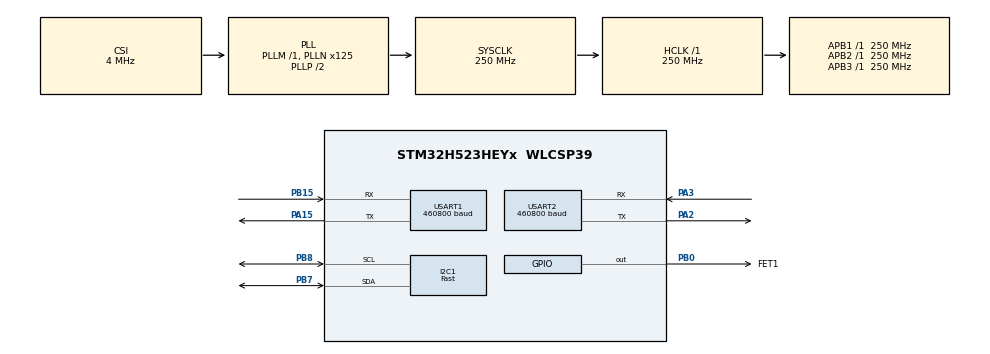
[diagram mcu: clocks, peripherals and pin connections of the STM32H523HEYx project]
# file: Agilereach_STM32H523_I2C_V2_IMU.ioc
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BOOTPATH.BootPathName=LEGACY
BOOTPATH.UserSelectedBootPath=LEGACY
CORTEX_M33_NS.userName=CORTEX_M33
I2C1.I2C_Fall_Time=100
I2C1.I2C_Rise_Time=100
I2C1.I2C_Speed_Mode=I2C_Fast
I2C1.Timing=0x50821643
Mcu.Family=STM32H5
Mcu.Name=STM32H523HEYx
Mcu.Package=WLCSP39
NVIC.ICACHE_IRQn=true\:0\:0\:false\:false\:true\:true\:true\:true
NVIC.PriorityGroup=NVIC_PRIORITYGROUP_4
NVIC.TIM2_IRQn=true\:0\:0\:false\:false\:true\:true\:true\:true
NVIC.TIM3_IRQn=true\:0\:0\:false\:false\:true\:true\:true\:true
NVIC.USART1_IRQn=true\:0\:0\:false\:false\:true\:true\:true\:true
NVIC.USART2_IRQn=true\:0\:0\:false\:false\:true\:true\:true\:true
PA13(JTMS/SWDIO).Signal=DEBUG_JTMS-SWDIO
PA14(JTCK/SWCLK).Signal=DEBUG_JTCK-SWCLK
PA15(JTDI).Mode=Asynchronous
PA15(JTDI).Signal=USART1_TX
PA2.Mode=Asynchronous
PA2.Signal=USART2_TX
PA3.Mode=Asynchronous
PA3.Signal=USART2_RX
PB0.GPIO_Label=FET1
PB0.Signal=GPIO_Output
PB15.Mode=Asynchronous
PB15.Signal=USART1_RX
PB7.GPIO_Pu=GPIO_PULLUP
PB7.GPIO_Speed=GPIO_SPEED_FREQ_HIGH
PB7.Mode=I2C
PB7.Signal=I2C1_SDA
PB8.GPIO_Pu=GPIO_PULLUP
PB8.GPIO_Speed=GPIO_SPEED_FREQ_HIGH
PB8.Mode=I2C
PB8.Signal=I2C1_SCL
ProjectManager.HeapSize=0x200
ProjectManager.StackSize=0x400
ProjectManager.TargetToolchain=STM32CubeIDE
RCC.ADCFreq_Value=250000000
RCC.AHBFreq_Value=250000000
RCC.APB1Freq_Value=250000000
RCC.APB1TimFreq_Value=250000000
RCC.APB2Freq_Value=250000000
RCC.APB2TimFreq_Value=250000000
RCC.APB3Freq_Value=250000000
RCC.CSI_VALUE=4000000
RCC.CortexFreq_Value=250000000
RCC.EPOD_VALUE=4000000
RCC.HCLKFreq_Value=250000000
RCC.HSE_VALUE=25000000
RCC.HSI48_VALUE=48000000
RCC.HSI_VALUE=64000000
RCC.LSE_VALUE=32768
RCC.LSIRC_VALUE=32000
RCC.PLL1Q=4
RCC.PLL2N=125
RCC.PLL3N=125
RCC.PLLFRACN=0
RCC.PLLN=125
RCC.SYSCLKFreq_VALUE=250000000
RCC.SYSCLKSource=RCC_SYSCLKSOURCE_PLLCLK
RCC.USBFreq_Value=48000000
RCC.VCOOutputFreq_Value=500000000
TIM2.PeriodNoDither=221
TIM2.Prescaler=2499
TIM3.PeriodNoDither=221
TIM3.Prescaler=2499
USART1.BaudRate=460800
USART1.VirtualMode-Asynchronous=VM_ASYNC
USART2.BaudRate=460800
USART2.VirtualMode-Asynchronous=VM_ASYNC
VP_BOOTPATH_VS_BOOTPATH.Mode=BP_Activate
VP_CORTEX_M33_NS_VS_Hclk.Mode=Hclk_Mode
VP_ICACHE_VS_ICACHE.Mode=DefaultMode
VP_MEMORYMAP_VS_MEMORYMAP.Mode=CurAppReg
VP_PWR_VS_LPOM.Mode=PowerOptimisation
VP_PWR_VS_SECSignals.Mode=Security/Privilege
VP_TIM2_VS_ClockSourceINT.Mode=Internal
VP_TIM3_VS_ClockSourceINT.Mode=Internal
board=custom

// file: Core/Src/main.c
/* USER CODE BEGIN Header */
/**
  ******************************************************************************
  * @file           : main.c
  * @brief          : Main program body
  ******************************************************************************
  * @attention
  *
  * Copyright (c) 2026 STMicroelectronics.
  * All rights reserved.
  *
  * This software is licensed under terms that can be found in the LICENSE file
  * in the root directory of this software component.
  * If no LICENSE file comes with this software, it is provided AS-IS.
  *
  ******************************************************************************
  */
/* USER CODE END Header */
#include "main.h"
#include "i2c.h"
#include "icache.h"
#include "tim.h"
#include "usart.h"
#include "gpio.h"

/* USER CODE BEGIN Includes */
#include <stdint.h>
#include <stdio.h>
#include <string.h>
#include <stdatomic.h>
#include "flash_eeprom.h"
#include "app/fingertip_runtime.h"
/* USER CODE END Includes */

/* USER CODE BEGIN PD */
uint32_t STMFLASH_LastPage_BUF[MCU_PAGE_SIZE/16];//2048x4/16=1024/2 64bit, it mean that 1024/2 double 64bit calibration parameters in a half page
uint32_t STMFLASH_LastPage_BUF_TEMP[MCU_PAGE_SIZE/16];//backup buffer when erasing page
STM_HOST_DATA Code_data_A;
STM_HOST_DATA Code_data_B;
uint32_t A_BUF[2];
uint32_t B_BUF[2];
uint32_t STMFLASH_BUF[4];
/* USER CODE END PD */

/* USER CODE BEGIN PV */
fingertip_runtime_t g_fingertip_runtime;
volatile HAL_StatusTypeDef g_imu_runtime_init_status = HAL_ERROR;
extern uint8_t calibration_uart_rx_buffer[3+152*ARRAY_PS];//calibration buffer
extern volatile uint8_t Cali_flag;//flag for calibration data
uint32_t temp_buffer[2];//calibration temp buffer
extern uint8_t uart_rx_buffer;
extern uint8_t master_rx_buffer;
extern SensorData system[MAX_BOARDS];
extern volatile uint8_t g_data_read_flag;
extern volatile uint8_t g_coil_read_flag;	//flag for mlx90393 timer3 225hz for coil force freq
extern send_controller_t tx_ctrl;
extern uint8_t system_count;//due to N sensors in serial
/* USER CODE END PV */

void SystemClock_Config(void);
/* USER CODE BEGIN PFP */
void read_mlx90393_burst(void);
void tx_keep_alive(void);
void start_transmission(void);
/* USER CODE END PFP */

/* USER CODE BEGIN 0 */
// CRC Calculation include the start byte!
static uint8_t calc_crc1(const uint8_t* data, uint16_t len) {
	uint8_t crc = 0;
	for (uint16_t i = 0; i < len; i++) {
		crc ^= data[i];
	}
	return crc;
}

/* USER CODE END 0 */

int main(void)
{

  /* MCU Configuration--------------------------------------------------------*/

  /* Reset of all peripherals, Initializes the Flash interface and the Systick. */
  HAL_Init();

  /* Configure the system clock */
  SystemClock_Config();

  /* Initialize all configured peripherals */
  MX_GPIO_Init();
  MX_TIM2_Init();
  MX_TIM3_Init();
  MX_USART1_UART_Init();
  MX_USART2_UART_Init();
  MX_ICACHE_Init();
  MX_I2C1_Init();
  if (fingertip_runtime_init(&g_fingertip_runtime, &hi2c1, &huart2) != HAL_OK)
    {
        // 初始化失败处理，防止系统运行在错误状态
        Error_Handler();
    }

  /* USER CODE BEGIN 2 */
	// Initialize mlx90393
  if (ARRAY_PS ==1)
  {
		// EX
		uint8_t cmd = 0x80;
		HAL_I2C_Master_Transmit(&hi2c1, MLX90393_I2C_ADDRESS_1, &cmd, 1, HAL_MAX_DELAY);
		HAL_I2C_Master_Receive(&hi2c1, MLX90393_I2C_ADDRESS_1, &cmd, 1, HAL_MAX_DELAY);
	//	HAL_I2C_Master_Transmit(&hi2c1, MLX90393_I2C_ADDRESS_2, &cmd, 1, HAL_MAX_DELAY);
	//	HAL_I2C_Master_Transmit(&hi2c1, MLX90393_I2C_ADDRESS_3, &cmd, 1, HAL_MAX_DELAY);
	//	HAL_I2C_Master_Transmit(&hi2c1, MLX90393_I2C_ADDRESS_4, &cmd, 1, HAL_MAX_DELAY);
		HAL_Delay(10);

		// RT
		cmd = 0xF0;
		HAL_I2C_Master_Transmit(&hi2c1, MLX90393_I2C_ADDRESS_1, &cmd, 1, HAL_MAX_DELAY);
		HAL_I2C_Master_Receive(&hi2c1, MLX90393_I2C_ADDRESS_1, &cmd, 1, HAL_MAX_DELAY);
	//	HAL_I2C_Master_Transmit(&hi2c1, MLX90393_I2C_ADDRESS_2, &cmd, 1, HAL_MAX_DELAY);
	//	HAL_I2C_Master_Transmit(&hi2c1, MLX90393_I2C_ADDRESS_3, &cmd, 1, HAL_MAX_DELAY);
	//	HAL_I2C_Master_Transmit(&hi2c1, MLX90393_I2C_ADDRESS_4, &cmd, 1, HAL_MAX_DELAY);
		HAL_Delay(10);

		uint16_t reg00_val = (0 << 8) | 0x1C;
		uint8_t buff0[4] = {0x60, (uint8_t)(reg00_val >> 8), (uint8_t)(reg00_val & 0xFF), 0x00 << 2};
		HAL_I2C_Master_Transmit(&hi2c1, MLX90393_I2C_ADDRESS_1, buff0, 4, HAL_MAX_DELAY);
		HAL_I2C_Master_Receive(&hi2c1, MLX90393_I2C_ADDRESS_1, &cmd, 1, HAL_MAX_DELAY);
	//	HAL_I2C_Master_Transmit(&hi2c1, MLX90393_I2C_ADDRESS_2, buff0, 4, HAL_MAX_DELAY);
	//	HAL_I2C_Master_Transmit(&hi2c1, MLX90393_I2C_ADDRESS_3, buff0, 4, HAL_MAX_DELAY);
	//	HAL_I2C_Master_Transmit(&hi2c1, MLX90393_I2C_ADDRESS_4, buff0, 4, HAL_MAX_DELAY);
		HAL_Delay(10);

		uint16_t reg02_val = (0x02 << 8) | 0xA8;
		uint8_t buff2[4] = {0x60, (uint8_t)(reg02_val >> 8), (uint8_t)(reg02_val & 0xFF), 0x02 << 2};
		HAL_I2C_Master_Transmit(&hi2c1, MLX90393_I2C_ADDRESS_1, buff2, 4, HAL_MAX_DELAY);
		HAL_I2C_Master_Receive(&hi2c1, MLX90393_I2C_ADDRESS_1, &cmd, 1, HAL_MAX_DELAY);
	//	HAL_I2C_Master_Transmit(&hi2c1, MLX90393_I2C_ADDRESS_2, buff2, 4, HAL_MAX_DELAY);
	//	HAL_I2C_Master_Transmit(&hi2c1, MLX90393_I2C_ADDRESS_3, buff2, 4, HAL_MAX_DELAY);
	//	HAL_I2C_Master_Transmit(&hi2c1, MLX90393_I2C_ADDRESS_4, buff2, 4, HAL_MAX_DELAY);
		HAL_Delay(10);

		// start burst
#if MLX90393_TEMP_READING
		uint8_t Burst_CMD = 0x1F;//Enable temperature reading
#else
		uint8_t Burst_CMD = 0x1E;
#endif
		HAL_I2C_Master_Transmit(&hi2c1, MLX90393_I2C_ADDRESS_1, &Burst_CMD, 1, HAL_MAX_DELAY);
		HAL_I2C_Master_Receive(&hi2c1, MLX90393_I2C_ADDRESS_1, &cmd, 1, HAL_MAX_DELAY);
	//	HAL_I2C_Master_Transmit(&hi2c1, MLX90393_I2C_ADDRESS_2, &Burst_CMD, 1, HAL_MAX_DELAY);
	//	HAL_I2C_Master_Transmit(&hi2c1, MLX90393_I2C_ADDRESS_3, &Burst_CMD, 1, HAL_MAX_DELAY);
	//	HAL_I2C_Master_Transmit(&hi2c1, MLX90393_I2C_ADDRESS_4, &Burst_CMD, 1, HAL_MAX_DELAY);

		HAL_Delay(10);
		//flash last page initial start to read flash data to calibration parameters K0...
			  FLASH_ReadData(CAL_START_ADDRESS, temp_buffer, 2);//read K0_0
				memcpy(&K0_0, &temp_buffer, sizeof(double));
			  FLASH_ReadData(CAL_START_ADDRESS+8, temp_buffer, 2);//read K1_0
				memcpy(&K1_0, &temp_buffer, sizeof(double));
			  FLASH_ReadData(CAL_START_ADDRESS+16, temp_buffer, 2);//read K2_0
				memcpy(&K2_0, &temp_buffer, sizeof(double));
			  FLASH_ReadData(CAL_START_ADDRESS+24, temp_buffer, 2);//read K3_0
				memcpy(&K3_0, &temp_buffer, sizeof(double));
			  FLASH_ReadData(CAL_START_ADDRESS+32, temp_buffer, 2);//read K4_0
				memcpy(&K4_0, &temp_buffer, sizeof(double));
			  FLASH_ReadData(CAL_START_ADDRESS+40, temp_buffer, 2);//read K5_0
				memcpy(&K5_0, &temp_buffer, sizeof(double));
			  FLASH_ReadData(CAL_START_ADDRESS+48, temp_buffer, 2);//read K6_0
				memcpy(&K6_0, &temp_buffer, sizeof(double));
			  FLASH_ReadData(CAL_START_ADDRESS+56, temp_buffer, 2);//read K7_0
				memcpy(&K7_0, &temp_buffer, sizeof(double));
			  FLASH_ReadData(CAL_START_ADDRESS+64, temp_buffer, 2);//read K8_0
				memcpy(&K8_0, &temp_buffer, sizeof(double));
			  FLASH_ReadData(CAL_START_ADDRESS+72, temp_buffer, 2);//read K9_0
				memcpy(&K9_0, &temp_buffer, sizeof(double));
			  FLASH_ReadData(CAL_START_ADDRESS+80, temp_buffer, 2);//read a_x_0
				memcpy(&a_x_0, &temp_buffer, sizeof(double));
			  FLASH_ReadData(CAL_START_ADDRESS+88, temp_buffer, 2);//read b_x_0
				memcpy(&b_x_0, &temp_buffer, sizeof(double));
			  FLASH_ReadData(CAL_START_ADDRESS+96, temp_buffer, 2);//read c_x_0
				memcpy(&c_x_0, &temp_buffer, sizeof(double));
			  FLASH_ReadData(CAL_START_ADDRESS+104, temp_buffer, 2);//read a_y_0
				memcpy(&a_y_0, &temp_buffer, sizeof(double));
			  FLASH_ReadData(CAL_START_ADDRESS+112, temp_buffer, 2);//read b_y_0
				memcpy(&b_y_0, &temp_buffer, sizeof(double));
			  FLASH_ReadData(CAL_START_ADDRESS+120, temp_buffer, 2);//read c_y_0
				memcpy(&c_y_0, &temp_buffer, sizeof(double));
			  FLASH_ReadData(CAL_START_ADDRESS+128, temp_buffer, 2);//read a_z_0
				memcpy(&a_z_0, &temp_buffer, sizeof(double));
			  FLASH_ReadData(CAL_START_ADDRESS+136, temp_buffer, 2);//read b_z_0
				memcpy(&b_z_0, &temp_buffer, sizeof(double));
			  FLASH_ReadData(CAL_START_ADDRESS+144, temp_buffer, 2);//read c_z_0
				memcpy(&c_z_0, &temp_buffer, sizeof(double));

  }
  else if (ARRAY_PS ==2)
  {
		// EX
		uint8_t cmd = 0x80;
		HAL_I2C_Master_Transmit(&hi2c1, MLX90393_I2C_ADDRESS_1, &cmd, 1, HAL_MAX_DELAY);
		HAL_I2C_Master_Transmit(&hi2c1, MLX90393_I2C_ADDRESS_2, &cmd, 1, HAL_MAX_DELAY);
	//	HAL_I2C_Master_Transmit(&hi2c1, MLX90393_I2C_ADDRESS_3, &cmd, 1, HAL_MAX_DELAY);
	//	HAL_I2C_Master_Transmit(&hi2c1, MLX90393_I2C_ADDRESS_4, &cmd, 1, HAL_MAX_DELAY);
		HAL_Delay(10);

		// RT
		cmd = 0xF0;
		HAL_I2C_Master_Transmit(&hi2c1, MLX90393_I2C_ADDRESS_1, &cmd, 1, HAL_MAX_DELAY);
		HAL_I2C_Master_Transmit(&hi2c1, MLX90393_I2C_ADDRESS_2, &cmd, 1, HAL_MAX_DELAY);
	//	HAL_I2C_Master_Transmit(&hi2c1, MLX90393_I2C_ADDRESS_3, &cmd, 1, HAL_MAX_DELAY);
	//	HAL_I2C_Master_Transmit(&hi2c1, MLX90393_I2C_ADDRESS_4, &cmd, 1, HAL_MAX_DELAY);
		HAL_Delay(10);

		uint16_t reg00_val = (0 << 8) | 0x1C;
		uint8_t buff0[4] = {0x60, (uint8_t)(reg00_val >> 8), (uint8_t)(reg00_val & 0xFF), 0x00 << 2};
		HAL_I2C_Master_Transmit(&hi2c1, MLX90393_I2C_ADDRESS_1, buff0, 4, HAL_MAX_DELAY);
		HAL_I2C_Master_Transmit(&hi2c1, MLX90393_I2C_ADDRESS_2, buff0, 4, HAL_MAX_DELAY);
	//	HAL_I2C_Master_Transmit(&hi2c1, MLX90393_I2C_ADDRESS_3, buff0, 4, HAL_MAX_DELAY);
	//	HAL_I2C_Master_Transmit(&hi2c1, MLX90393_I2C_ADDRESS_4, buff0, 4, HAL_MAX_DELAY);
		HAL_Delay(10);

		uint16_t reg02_val = (0x02 << 8) | 0xA8;
		uint8_t buff2[4] = {0x60, (uint8_t)(reg02_val >> 8), (uint8_t)(reg02_val & 0xFF), 0x02 << 2};
		HAL_I2C_Master_Transmit(&hi2c1, MLX90393_I2C_ADDRESS_1, buff2, 4, HAL_MAX_DELAY);
		HAL_I2C_Master_Transmit(&hi2c1, MLX90393_I2C_ADDRESS_2, buff2, 4, HAL_MAX_DELAY);
	//	HAL_I2C_Master_Transmit(&hi2c1, MLX90393_I2C_ADDRESS_3, buff2, 4, HAL_MAX_DELAY);
	//	HAL_I2C_Master_Transmit(&hi2c1, MLX90393_I2C_ADDRESS_4, buff2, 4, HAL_MAX_DELAY);
		HAL_Delay(10);

		// start burst
		uint8_t Burst_CMD = 0x1E;
		HAL_I2C_Master_Transmit(&hi2c1, MLX90393_I2C_ADDRESS_1, &Burst_CMD, 1, HAL_MAX_DELAY);
		HAL_I2C_Master_Transmit(&hi2c1, MLX90393_I2C_ADDRESS_2, &Burst_CMD, 1, HAL_MAX_DELAY);
	//	HAL_I2C_Master_Transmit(&hi2c1, MLX90393_I2C_ADDRESS_3, &Burst_CMD, 1, HAL_MAX_DELAY);
	//	HAL_I2C_Master_Transmit(&hi2c1, MLX90393_I2C_ADDRESS_4, &Burst_CMD, 1, HAL_MAX_DELAY);

		HAL_Delay(10);
		//flash last page initial start to read flash data to calibration parameters K0...
			  FLASH_ReadData(CAL_START_ADDRESS, temp_buffer, 2);//read K0_0
				memcpy(&K0_0, &temp_buffer, sizeof(double));
			  FLASH_ReadData(CAL_START_ADDRESS+8, temp_buffer, 2);//read K1_0
				memcpy(&K1_0, &temp_buffer, sizeof(double));
			  FLASH_ReadData(CAL_START_ADDRESS+16, temp_buffer, 2);//read K2_0
				memcpy(&K2_0, &temp_buffer, sizeof(double));
			  FLASH_ReadData(CAL_START_ADDRESS+24, temp_buffer, 2);//read K3_0
				memcpy(&K3_0, &temp_buffer, sizeof(double));
			  FLASH_ReadData(CAL_START_ADDRESS+32, temp_buffer, 2);//read K4_0
				memcpy(&K4_0, &temp_buffer, sizeof(double));
			  FLASH_ReadData(CAL_START_ADDRESS+40, temp_buffer, 2);//read K5_0
				memcpy(&K5_0, &temp_buffer, sizeof(double));
			  FLASH_ReadData(CAL_START_ADDRESS+48, temp_buffer, 2);//read K6_0
				memcpy(&K6_0, &temp_buffer, sizeof(double));
			  FLASH_ReadData(CAL_START_ADDRESS+56, temp_buffer, 2);//read K7_0
				memcpy(&K7_0, &temp_buffer, sizeof(double));
			  FLASH_ReadData(CAL_START_ADDRESS+64, temp_buffer, 2);//read K8_0
				memcpy(&K8_0, &temp_buffer, sizeof(double));
			  FLASH_ReadData(CAL_START_ADDRESS+72, temp_buffer, 2);//read K9_0
				memcpy(&K9_0, &temp_buffer, sizeof(double));
			  FLASH_ReadData(CAL_START_ADDRESS+80, temp_buffer, 2);//read a_x_0
				memcpy(&a_x_0, &temp_buffer, sizeof(double));
			  FLASH_ReadData(CAL_START_ADDRESS+88, temp_buffer, 2);//read b_x_0
				memcpy(&b_x_0, &temp_buffer, sizeof(double));
			  FLASH_ReadData(CAL_START_ADDRESS+96, temp_buffer, 2);//read c_x_0
				memcpy(&c_x_0, &temp_buffer, sizeof(double));
			  FLASH_ReadData(CAL_START_ADDRESS+104, temp_buffer, 2);//read a_y_0
				memcpy(&a_y_0, &temp_buffer, sizeof(double));
			  FLASH_ReadData(CAL_START_ADDRESS+112, temp_buffer, 2);//read b_y_0
				memcpy(&b_y_0, &temp_buffer, sizeof(double));
			  FLASH_ReadData(CAL_START_ADDRESS+120, temp_buffer, 2);//read c_y_0
				memcpy(&c_y_0, &temp_buffer, sizeof(double));
			  FLASH_ReadData(CAL_START_ADDRESS+128, temp_buffer, 2);//read a_z_0
				memcpy(&a_z_0, &temp_buffer, sizeof(double));
			  FLASH_ReadData(CAL_START_ADDRESS+136, temp_buffer, 2);//read b_z_0
				memcpy(&b_z_0, &temp_buffer, sizeof(double));
			  FLASH_ReadData(CAL_START_ADDRESS+144, temp_buffer, 2);//read c_z_0
				memcpy(&c_z_0, &temp_buffer, sizeof(double));

				  FLASH_ReadData(CAL_START_ADDRESS+144+8, temp_buffer, 2);//read K0_1
					memcpy(&K0_1, &temp_buffer, sizeof(double));
				  FLASH_ReadData(CAL_START_ADDRESS+144+16, temp_buffer, 2);//read K1_1
					memcpy(&K1_1, &temp_buffer, sizeof(double));
				  FLASH_ReadData(CAL_START_ADDRESS+144+24, temp_buffer, 2);//read K2_1
					memcpy(&K2_1, &temp_buffer, sizeof(double));
				  FLASH_ReadData(CAL_START_ADDRESS+144+32, temp_buffer, 2);//read K3_1
					memcpy(&K3_1, &temp_buffer, sizeof(double));
				  FLASH_ReadData(CAL_START_ADDRESS+144+40, temp_buffer, 2);//read K4_1
					memcpy(&K4_1, &temp_buffer, sizeof(double));
				  FLASH_ReadData(CAL_START_ADDRESS+144+48, temp_buffer, 2);//read K5_1
					memcpy(&K5_1, &temp_buffer, sizeof(double));
				  FLASH_ReadData(CAL_START_ADDRESS+144+56, temp_buffer, 2);//read K6_1
					memcpy(&K6_1, &temp_buffer, sizeof(double));
				  FLASH_ReadData(CAL_START_ADDRESS+144+64, temp_buffer, 2);//read K7_1
					memcpy(&K7_1, &temp_buffer, sizeof(double));
				  FLASH_ReadData(CAL_START_ADDRESS+144+72, temp_buffer, 2);//read K8_1
					memcpy(&K8_1, &temp_buffer, sizeof(double));
				  FLASH_ReadData(CAL_START_ADDRESS+144+80, temp_buffer, 2);//read K9_1
					memcpy(&K9_1, &temp_buffer, sizeof(double));
				  FLASH_ReadData(CAL_START_ADDRESS+144+88, temp_buffer, 2);//read a_x_1
					memcpy(&a_x_1, &temp_buffer, sizeof(double));
				  FLASH_ReadData(CAL_START_ADDRESS+144+96, temp_buffer, 2);//read b_x_1
					memcpy(&b_x_1, &temp_buffer, sizeof(double));
				  FLASH_ReadData(CAL_START_ADDRESS+144+104, temp_buffer, 2);//read c_x_1
					memcpy(&c_x_1, &temp_buffer, sizeof(double));
				  FLASH_ReadData(CAL_START_ADDRESS+144+112, temp_buffer, 2);//read a_y_1
					memcpy(&a_y_1, &temp_buffer, sizeof(double));
				  FLASH_ReadData(CAL_START_ADDRESS+144+120, temp_buffer, 2);//read b_y_1
					memcpy(&b_y_1, &temp_buffer, sizeof(double));
				  FLASH_ReadData(CAL_START_ADDRESS+144+128, temp_buffer, 2);//read c_y_1
					memcpy(&c_y_1, &temp_buffer, sizeof(double));
				  FLASH_ReadData(CAL_START_ADDRESS+144+136, temp_buffer, 2);//read a_z_1
					memcpy(&a_z_1, &temp_buffer, sizeof(double));
				  FLASH_ReadData(CAL_START_ADDRESS+144+144, temp_buffer, 2);//read b_z_1
					memcpy(&b_z_1, &temp_buffer, sizeof(double));
				  FLASH_ReadData(CAL_START_ADDRESS+144+152, temp_buffer, 2);//read c_z_1
					memcpy(&c_z_1, &temp_buffer, sizeof(double));
  }
  else if (ARRAY_PS ==4)
  {
		// EX
		uint8_t cmd = 0x80;
		HAL_I2C_Master_Transmit(&hi2c1, MLX90393_I2C_ADDRESS_1, &cmd, 1, HAL_MAX_DELAY);
		HAL_I2C_Master_Transmit(&hi2c1, MLX90393_I2C_ADDRESS_2, &cmd, 1, HAL_MAX_DELAY);
		HAL_I2C_Master_Transmit(&hi2c1, MLX90393_I2C_ADDRESS_3, &cmd, 1, HAL_MAX_DELAY);
		HAL_I2C_Master_Transmit(&hi2c1, MLX90393_I2C_ADDRESS_4, &cmd, 1, HAL_MAX_DELAY);
		HAL_Delay(10);

		// RT
		cmd = 0xF0;
		HAL_I2C_Master_Transmit(&hi2c1, MLX90393_I2C_ADDRESS_1, &cmd, 1, HAL_MAX_DELAY);
		HAL_I2C_Master_Transmit(&hi2c1, MLX90393_I2C_ADDRESS_2, &cmd, 1, HAL_MAX_DELAY);
		HAL_I2C_Master_Transmit(&hi2c1, MLX90393_I2C_ADDRESS_3, &cmd, 1, HAL_MAX_DELAY);
		HAL_I2C_Master_Transmit(&hi2c1, MLX90393_I2C_ADDRESS_4, &cmd, 1, HAL_MAX_DELAY);
		HAL_Delay(10);

		uint16_t reg00_val = (0 << 8) | 0x1C;
		uint8_t buff0[4] = {0x60, (uint8_t)(reg00_val >> 8), (uint8_t)(reg00_val & 0xFF), 0x00 << 2};
		HAL_I2C_Master_Transmit(&hi2c1, MLX90393_I2C_ADDRESS_1, buff0, 4, HAL_MAX_DELAY);
		HAL_I2C_Master_Transmit(&hi2c1, MLX90393_I2C_ADDRESS_2, buff0, 4, HAL_MAX_DELAY);
		HAL_I2C_Master_Transmit(&hi2c1, MLX90393_I2C_ADDRESS_3, buff0, 4, HAL_MAX_DELAY);
		HAL_I2C_Master_Transmit(&hi2c1, MLX90393_I2C_ADDRESS_4, buff0, 4, HAL_MAX_DELAY);
		HAL_Delay(10);

		uint16_t reg02_val = (0x02 << 8) | 0xA8;
		uint8_t buff2[4] = {0x60, (uint8_t)(reg02_val >> 8), (uint8_t)(reg02_val & 0xFF), 0x02 << 2};
		HAL_I2C_Master_Transmit(&hi2c1, MLX90393_I2C_ADDRESS_1, buff2, 4, HAL_MAX_DELAY);
		HAL_I2C_Master_Transmit(&hi2c1, MLX90393_I2C_ADDRESS_2, buff2, 4, HAL_MAX_DELAY);
		HAL_I2C_Master_Transmit(&hi2c1, MLX90393_I2C_ADDRESS_3, buff2, 4, HAL_MAX_DELAY);
		HAL_I2C_Master_Transmit(&hi2c1, MLX90393_I2C_ADDRESS_4, buff2, 4, HAL_MAX_DELAY);
		HAL_Delay(10);

		// start burst
		uint8_t Burst_CMD = 0x1E;
		HAL_I2C_Master_Transmit(&hi2c1, MLX90393_I2C_ADDRESS_1, &Burst_CMD, 1, HAL_MAX_DELAY);
		HAL_I2C_Master_Transmit(&hi2c1, MLX90393_I2C_ADDRESS_2, &Burst_CMD, 1, HAL_MAX_DELAY);
		HAL_I2C_Master_Transmit(&hi2c1, MLX90393_I2C_ADDRESS_3, &Burst_CMD, 1, HAL_MAX_DELAY);
		HAL_I2C_Master_Transmit(&hi2c1, MLX90393_I2C_ADDRESS_4, &Burst_CMD, 1, HAL_MAX_DELAY);

		HAL_Delay(10);
		//flash last page initial start to read flash data to calibration parameters K0...
			  FLASH_ReadData(CAL_START_ADDRESS, temp_buffer, 2);//read K0_0
				memcpy(&K0_0, &temp_buffer, sizeof(double));
			  FLASH_ReadData(CAL_START_ADDRESS+8, temp_buffer, 2);//read K1_0
				memcpy(&K1_0, &temp_buffer, sizeof(double));
			  FLASH_ReadData(CAL_START_ADDRESS+16, temp_buffer, 2);//read K2_0
				memcpy(&K2_0, &temp_buffer, sizeof(double));
			  FLASH_ReadData(CAL_START_ADDRESS+24, temp_buffer, 2);//read K3_0
				memcpy(&K3_0, &temp_buffer, sizeof(double));
			  FLASH_ReadData(CAL_START_ADDRESS+32, temp_buffer, 2);//read K4_0
				memcpy(&K4_0, &temp_buffer, sizeof(double));
			  FLASH_ReadData(CAL_START_ADDRESS+40, temp_buffer, 2);//read K5_0
				memcpy(&K5_0, &temp_buffer, sizeof(double));
			  FLASH_ReadData(CAL_START_ADDRESS+48, temp_buffer, 2);//read K6_0
				memcpy(&K6_0, &temp_buffer, sizeof(double));
			  FLASH_ReadData(CAL_START_ADDRESS+56, temp_buffer, 2);//read K7_0
				memcpy(&K7_0, &temp_buffer, sizeof(double));
			  FLASH_ReadData(CAL_START_ADDRESS+64, temp_buffer, 2);//read K8_0
				memcpy(&K8_0, &temp_buffer, sizeof(double));
			  FLASH_ReadData(CAL_START_ADDRESS+72, temp_buffer, 2);//read K9_0
				memcpy(&K9_0, &temp_buffer, sizeof(double));
			  FLASH_ReadData(CAL_START_ADDRESS+80, temp_buffer, 2);//read a_x_0
				memcpy(&a_x_0, &temp_buffer, sizeof(double));
			  FLASH_ReadData(CAL_START_ADDRESS+88, temp_buffer, 2);//read b_x_0
				memcpy(&b_x_0, &temp_buffer, sizeof(double));
			  FLASH_ReadData(CAL_START_ADDRESS+96, temp_buffer, 2);//read c_x_0
				memcpy(&c_x_0, &temp_buffer, sizeof(double));
			  FLASH_ReadData(CAL_START_ADDRESS+104, temp_buffer, 2);//read a_y_0
				memcpy(&a_y_0, &temp_buffer, sizeof(double));
			  FLASH_ReadData(CAL_START_ADDRESS+112, temp_buffer, 2);//read b_y_0
				memcpy(&b_y_0, &temp_buffer, sizeof(double));
			  FLASH_ReadData(CAL_START_ADDRESS+120, temp_buffer, 2);//read c_y_0
				memcpy(&c_y_0, &temp_buffer, sizeof(double));
			  FLASH_ReadData(CAL_START_ADDRESS+128, temp_buffer, 2);//read a_z_0
				memcpy(&a_z_0, &temp_buffer, sizeof(double));
			  FLASH_ReadData(CAL_START_ADDRESS+136, temp_buffer, 2);//read b_z_0
				memcpy(&b_z_0, &temp_buffer, sizeof(double));
			  FLASH_ReadData(CAL_START_ADDRESS+144, temp_buffer, 2);//read c_z_0
				memcpy(&c_z_0, &temp_buffer, sizeof(double));

				  FLASH_ReadData(CAL_START_ADDRESS+144+8, temp_buffer, 2);//read K0_1
					memcpy(&K0_1, &temp_buffer, sizeof(double));
				  FLASH_ReadData(CAL_START_ADDRESS+144+16, temp_buffer, 2);//read K1_1
					memcpy(&K1_1, &temp_buffer, sizeof(double));
				  FLASH_ReadData(CAL_START_ADDRESS+144+24, temp_buffer, 2);//read K2_1
					memcpy(&K2_1, &temp_buffer, sizeof(double));
				  FLASH_ReadData(CAL_START_ADDRESS+144+32, temp_buffer, 2);//read K3_1
					memcpy(&K3_1, &temp_buffer, sizeof(double));
				  FLASH_ReadData(CAL_START_ADDRESS+144+40, temp_buffer, 2);//read K4_1
					memcpy(&K4_1, &temp_buffer, sizeof(double));
				  FLASH_ReadData(CAL_START_ADDRESS+144+48, temp_buffer, 2);//read K5_1
					memcpy(&K5_1, &temp_buffer, sizeof(double));
				  FLASH_ReadData(CAL_START_ADDRESS+144+56, temp_buffer, 2);//read K6_1
					memcpy(&K6_1, &temp_buffer, sizeof(double));
				  FLASH_ReadData(CAL_START_ADDRESS+144+64, temp_buffer, 2);//read K7_1
					memcpy(&K7_1, &temp_buffer, sizeof(double));
				  FLASH_ReadData(CAL_START_ADDRESS+144+72, temp_buffer, 2);//read K8_1
					memcpy(&K8_1, &temp_buffer, sizeof(double));
				  FLASH_ReadData(CAL_START_ADDRESS+144+80, temp_buffer, 2);//read K9_1
					memcpy(&K9_1, &temp_buffer, sizeof(double));
				  FLASH_ReadData(CAL_START_ADDRESS+144+88, temp_buffer, 2);//read a_x_1
					memcpy(&a_x_1, &temp_buffer, sizeof(double));
				  FLASH_ReadData(CAL_START_ADDRESS+144+96, temp_buffer, 2);//read b_x_1
					memcpy(&b_x_1, &temp_buffer, sizeof(double));
				  FLASH_ReadData(CAL_START_ADDRESS+144+104, temp_buffer, 2);//read c_x_1
					memcpy(&c_x_1, &temp_buffer, sizeof(double));
				  FLASH_ReadData(CAL_START_ADDRESS+144+112, temp_buffer, 2);//read a_y_1
					memcpy(&a_y_1, &temp_buffer, sizeof(double));
				  FLASH_ReadData(CAL_START_ADDRESS+144+120, temp_buffer, 2);//read b_y_1
					memcpy(&b_y_1, &temp_buffer, sizeof(double));
				  FLASH_ReadData(CAL_START_ADDRESS+144+128, temp_buffer, 2);//read c_y_1
					memcpy(&c_y_1, &temp_buffer, sizeof(double));
				  FLASH_ReadData(CAL_START_ADDRESS+144+136, temp_buffer, 2);//read a_z_1
					memcpy(&a_z_1, &temp_buffer, sizeof(double));
				  FLASH_ReadData(CAL_START_ADDRESS+144+144, temp_buffer, 2);//read b_z_1
					memcpy(&b_z_1, &temp_buffer, sizeof(double));
				  FLASH_ReadData(CAL_START_ADDRESS+144+152, temp_buffer, 2);//read c_z_1
					memcpy(&c_z_1, &temp_buffer, sizeof(double));

					  FLASH_ReadData(CAL_START_ADDRESS+144+152+8, temp_buffer, 2);//read K0_2
						memcpy(&K0_1, &temp_buffer, sizeof(double));
					  FLASH_ReadData(CAL_START_ADDRESS+144+152+16, temp_buffer, 2);//read K1_2
						memcpy(&K1_1, &temp_buffer, sizeof(double));
					  FLASH_ReadData(CAL_START_ADDRESS+144+152+24, temp_buffer, 2);//read K2_2
						memcpy(&K2_1, &temp_buffer, sizeof(double));
					  FLASH_ReadData(CAL_START_ADDRESS+144+152+32, temp_buffer, 2);//read K3_2
						memcpy(&K3_1, &temp_buffer, sizeof(double));
					  FLASH_ReadData(CAL_START_ADDRESS+144+152+40, temp_buffer, 2);//read K4_2
						memcpy(&K4_1, &temp_buffer, sizeof(double));
					  FLASH_ReadData(CAL_START_ADDRESS+144+152+48, temp_buffer, 2);//read K5_2
						memcpy(&K5_1, &temp_buffer, sizeof(double));
					  FLASH_ReadData(CAL_START_ADDRESS+144+152+56, temp_buffer, 2);//read K6_2
						memcpy(&K6_1, &temp_buffer, sizeof(double));
					  FLASH_ReadData(CAL_START_ADDRESS+144+152+64, temp_buffer, 2);//read K7_2
						memcpy(&K7_1, &temp_buffer, sizeof(double));
					  FLASH_ReadData(CAL_START_ADDRESS+144+152+72, temp_buffer, 2);//read K8_2
						memcpy(&K8_1, &temp_buffer, sizeof(double));
					  FLASH_ReadData(CAL_START_ADDRESS+144+152+80, temp_buffer, 2);//read K9_2
						memcpy(&K9_1, &temp_buffer, sizeof(double));
					  FLASH_ReadData(CAL_START_ADDRESS+144+152+88, temp_buffer, 2);//read a_x_2
						memcpy(&a_x_1, &temp_buffer, sizeof(double));
					  FLASH_ReadData(CAL_START_ADDRESS+144+152+96, temp_buffer, 2);//read b_x_2
						memcpy(&b_x_1, &temp_buffer, sizeof(double));
					  FLASH_ReadData(CAL_START_ADDRESS+144+152+104, temp_buffer, 2);//read c_x_2
						memcpy(&c_x_1, &temp_buffer, sizeof(double));
					  FLASH_ReadData(CAL_START_ADDRESS+144+152+112, temp_buffer, 2);//read a_y_2
						memcpy(&a_y_1, &temp_buffer, sizeof(double));
					  FLASH_ReadData(CAL_START_ADDRESS+144+152+120, temp_buffer, 2);//read b_y_2
						memcpy(&b_y_1, &temp_buffer, sizeof(double));
					  FLASH_ReadData(CAL_START_ADDRESS+144+152+128, temp_buffer, 2);//read c_y_2
						memcpy(&c_y_1, &temp_buffer, sizeof(double));
					  FLASH_ReadData(CAL_START_ADDRESS+144+152+136, temp_buffer, 2);//read a_z_2
						memcpy(&a_z_1, &temp_buffer, sizeof(double));
					  FLASH_ReadData(CAL_START_ADDRESS+144+152+144, temp_buffer, 2);//read b_z_2
						memcpy(&b_z_1, &temp_buffer, sizeof(double));
					  FLASH_ReadData(CAL_START_ADDRESS+144+152+152, temp_buffer, 2);//read c_z_2
						memcpy(&c_z_1, &temp_buffer, sizeof(double));

						  FLASH_ReadData(CAL_START_ADDRESS+144+152+152+8, temp_buffer, 2);//read K0_3
							memcpy(&K0_1, &temp_buffer, sizeof(double));
						  FLASH_ReadData(CAL_START_ADDRESS+144+152+152+16, temp_buffer, 2);//read K1_3
							memcpy(&K1_1, &temp_buffer, sizeof(double));
						  FLASH_ReadData(CAL_START_ADDRESS+144+152+152+24, temp_buffer, 2);//read K2_3
							memcpy(&K2_1, &temp_buffer, sizeof(double));
						  FLASH_ReadData(CAL_START_ADDRESS+144+152+152+32, temp_buffer, 2);//read K3_3
							memcpy(&K3_1, &temp_buffer, sizeof(double));
						  FLASH_ReadData(CAL_START_ADDRESS+144+152+152+40, temp_buffer, 2);//read K4_3
							memcpy(&K4_1, &temp_buffer, sizeof(double));
						  FLASH_ReadData(CAL_START_ADDRESS+144+152+152+48, temp_buffer, 2);//read K5_3
							memcpy(&K5_1, &temp_buffer, sizeof(double));
						  FLASH_ReadData(CAL_START_ADDRESS+144+152+152+56, temp_buffer, 2);//read K6_3
							memcpy(&K6_1, &temp_buffer, sizeof(double));
						  FLASH_ReadData(CAL_START_ADDRESS+144+152+152+64, temp_buffer, 2);//read K7_3
							memcpy(&K7_1, &temp_buffer, sizeof(double));
						  FLASH_ReadData(CAL_START_ADDRESS+144+152+152+72, temp_buffer, 2);//read K8_3
							memcpy(&K8_1, &temp_buffer, sizeof(double));
						  FLASH_ReadData(CAL_START_ADDRESS+144+152+152+80, temp_buffer, 2);//read K9_3
							memcpy(&K9_1, &temp_buffer, sizeof(double));
						  FLASH_ReadData(CAL_START_ADDRESS+144+152+152+88, temp_buffer, 2);//read a_x_3
							memcpy(&a_x_1, &temp_buffer, sizeof(double));
						  FLASH_ReadData(CAL_START_ADDRESS+144+152+152+96, temp_buffer, 2);//read b_x_3
							memcpy(&b_x_1, &temp_buffer, sizeof(double));
						  FLASH_ReadData(CAL_START_ADDRESS+144+152+152+104, temp_buffer, 2);//read c_x_3
							memcpy(&c_x_1, &temp_buffer, sizeof(double));
						  FLASH_ReadData(CAL_START_ADDRESS+144+152+152+112, temp_buffer, 2);//read a_y_3
							memcpy(&a_y_1, &temp_buffer, sizeof(double));
						  FLASH_ReadData(CAL_START_ADDRESS+144+152+152+120, temp_buffer, 2);//read b_y_3
							memcpy(&b_y_1, &temp_buffer, sizeof(double));
						  FLASH_ReadData(CAL_START_ADDRESS+144+152+152+128, temp_buffer, 2);//read c_y_3
							memcpy(&c_y_1, &temp_buffer, sizeof(double));
						  FLASH_ReadData(CAL_START_ADDRESS+144+152+152+136, temp_buffer, 2);//read a_z_3
							memcpy(&a_z_1, &temp_buffer, sizeof(double));
						  FLASH_ReadData(CAL_START_ADDRESS+144+152+152+144, temp_buffer, 2);//read b_z_3
							memcpy(&b_z_1, &temp_buffer, sizeof(double));
						  FLASH_ReadData(CAL_START_ADDRESS+144+152+152+152, temp_buffer, 2);//read c_z_3
							memcpy(&c_z_1, &temp_buffer, sizeof(double));
  }
  else// Max. I2C 90393 = 4
  {
	  HAL_Delay(1);
  }
//read sys config parameters start
												FLASH_ReadData(SYS_START_ADDRESS, (uint32_t*)temp_buffer, 2);//read A code sys config@the first address ex:0XFFFF FFFF 0XFFFF FFFF
												memcpy(&A_BUF, temp_buffer, sizeof(double));
												Code_data_A.MCU_UPGRADE_FLAG = temp_buffer[0];
												Code_data_A.BOOTLOADER_VERSION = temp_buffer[0] >> 8;
												Code_data_A.SOFTWARE_VERSION1 = temp_buffer[0] >> 16;
												Code_data_A.SOFTWARE_VERSION2 = temp_buffer[0] >> 24;

												Code_data_A.CODE_ZONE = temp_buffer[1];
												Code_data_A.HOST_RESET = temp_buffer[1] >> 8;
												Code_data_A.HARDWARE_VERSION1 = temp_buffer[1] >> 16;
												Code_data_A.HARDWARE_VERSION2 = temp_buffer[1] >> 24;

												FLASH_ReadData(SYS_START_ADDRESS+8, (uint32_t*)temp_buffer, 2);//read B code sys config@the second address ex:0XFFFF FFFF 0XFFFF FFFF
												memcpy(&B_BUF, temp_buffer, sizeof(double));
												Code_data_B.MCU_UPGRADE_FLAG = temp_buffer[0];
												Code_data_B.BOOTLOADER_VERSION = temp_buffer[0] >> 8;
												Code_data_B.SOFTWARE_VERSION1 = temp_buffer[0] >> 16;
												Code_data_B.SOFTWARE_VERSION2 = temp_buffer[0] >> 24;

												Code_data_B.CODE_ZONE = temp_buffer[1];
												Code_data_B.HOST_RESET = temp_buffer[1] >> 8;
												Code_data_B.HARDWARE_VERSION1 = temp_buffer[1] >> 16;
												Code_data_B.HARDWARE_VERSION2 = temp_buffer[1] >> 24;
//read sys config parameters end
	// Start timers
	HAL_TIM_Base_Start_IT(&htim2); // 450Hz for sensor reading
	HAL_TIM_Base_Start_IT(&htim3); // 250Hz for FET1 control coil to magnetic force
	// Start UART reception
	// Each time receive 1 board data, use HAL_UART_RxCpltCallback to process the data
	HAL_UART_Receive_IT(&huart1, &uart_rx_buffer, 1);
	HAL_UART_Receive_IT(&huart2, &master_rx_buffer, 1);//lpuart1 == uart2
  /* USER CODE END 2 */

  /* Infinite loop */
  /* USER CODE BEGIN WHILE */
	start_transmission();
  while (1)
  {
    /* USER CODE END WHILE */

    /* USER CODE BEGIN 3 */
#if PALM_IMU_ENABLE
	  fingertip_runtime_process(&g_fingertip_runtime);//IMU drivers
#endif
	  //flash parameters start

	  		if (Cali_flag == 1)
	  		{//cali_flag start
	  			  uint8_t feedback_flash_success[4] = {0xAA, 0x55, 0x11, 0x00};//flash success
	  			  uint8_t feedback_flash_fail[4] = {0xBB, 0x66, 0x22, 0x11};//flash fail
	  			Cali_flag = 0;
	  			uint8_t computed_crc = calc_crc1(calibration_uart_rx_buffer, sizeof(calibration_uart_rx_buffer)-2);
	  		    if (computed_crc == calibration_uart_rx_buffer[3+152*ARRAY_PS-2])
	  		    {//crc start

	  		    		for (uint8_t i = 0; i < 19*ARRAY_PS; i++)//19*ARRAY_PS pcs cali parameters
	  		    		{
	  		    			memcpy(&STMFLASH_LastPage_BUF[i], &calibration_uart_rx_buffer[8*i+1], sizeof(double));
	  		    		}

  		    			if (STMFLASH_LastPage_BUF[0] == 0xFFFF3412)//this is not cali, but reset to download flag
  		    			{ //reset to download start
  		    				uint8_t feedback_reset[4] = {0xCC, 0x66, 0x66, 0xCC};//reset to download flag success
  		    				//before erasing flash, read existing cali parameters
  		  			    	Code_data_A.HOST_RESET = 0x01;//request reset and download new code
  		  		    		Code_data_B.HOST_RESET = 0x01;//request reset and download new code
  		    				HAL_FLASH_Unlock();
  		    				FLASH_Erase_Page(1, 31, 2);// bank2 lastpage31 erasing 1page
		    					FLASH_WriteData(CAL_START_ADDRESS, STMFLASH_LastPage_BUF_TEMP, MCU_PAGE_SIZE/16);//
		    					//write sys config parameters
		    						    		    				memcpy(&STMFLASH_BUF, &Code_data_A, sizeof(double));
		    						    		    				FLASH_WriteData(SYS_START_ADDRESS, STMFLASH_BUF, 2);
		    						    		    				memcpy(&STMFLASH_BUF, &Code_data_B, sizeof(double));
		    						    		    				FLASH_WriteData(SYS_START_ADDRESS+8, STMFLASH_BUF, 2);
		    						    		    				HAL_FLASH_Lock();
		    						    		  			    	HAL_UART_Transmit_IT(&huart2, feedback_reset, sizeof(feedback_reset));//output flash reset

  		  		    			//software reset start
  		  			    	HAL_Delay(10);
  		  			    		__disable_irq();//close all IT
  		  			    		__NVIC_SystemReset();//software reset
  		  			    		while(1);
  		  			    		//software reset end
  		  			       //reset to download end

  		    			}
  		    			else
  		    			{//cali start
	  	  		    		HAL_FLASH_Unlock();
	  	  		    		FLASH_Erase_Page(1, 31, 2);// bank2 lastpage31 erasing 1page
	  	  		    		FLASH_WriteData(CAL_START_ADDRESS, STMFLASH_LastPage_BUF, MCU_PAGE_SIZE/16);
	  	  		    		HAL_FLASH_Lock();

	  	  		    		FLASH_ReadData(CAL_START_ADDRESS, temp_buffer, 2);//only verify K0_0
	  	  		    		memcpy(&K0_0, &temp_buffer, sizeof(double));
	  	  		    		uint8_t verify_flash;
	  	  		    		verify_flash = memcmp(&K0_0, &STMFLASH_LastPage_BUF[0], sizeof(double));
	  	  		    		if (verify_flash == 0)
	  	  		    			{
	  	  			    	HAL_UART_Transmit_IT(&huart2, feedback_flash_success, sizeof(feedback_flash_success));//output special feedback 4 bytes
	  	  			        HAL_Delay(50);
	  	  		    		HAL_UART_Transmit_IT(&huart2, calibration_uart_rx_buffer, sizeof(calibration_uart_rx_buffer));//output back cali_data
	  	  		    			}
	  	  		    		else
	  	  		    			{
	  	  			    	HAL_UART_Transmit_IT(&huart2, feedback_flash_fail, sizeof(feedback_flash_fail));//output flash fail special feedback 4 bytes
	  	  		    			}
	    			}//cali end
	  		    }//crc end
	  		}//cali_flag end
//flash parameters end
	  		//force coil magnet by 225hz
	  		//	  				if (__atomic_load_n(&g_coil_read_flag, __ATOMIC_SEQ_CST))
	  		//	  				{
	  		//	  					  __atomic_store_n(&g_coil_read_flag, 0, __ATOMIC_SEQ_CST);
	  		//	  					  HAL_GPIO_TogglePin(FET1_GPIO_Port, FET1_Pin);// pwm 225hz
	  		//	  					  read_mlx90393_burst();
	  		//	  				}//force coil magnet by 225hz end
	  		//magnet by 450hz
	  			  	  			if (__atomic_load_n(&g_data_read_flag, __ATOMIC_SEQ_CST))
	  			  	  			{
	  			  	  				__atomic_store_n(&g_data_read_flag, 0, __ATOMIC_SEQ_CST);
	  			  	  			read_mlx90393_burst();
	  			  	  			}//magnet by 450hz end
	  			  			//process_sensor_data();
	  			  		  	if(tx_ctrl.actual_interval_ms !=0)
	  			  		  	{     tx_keep_alive();
	  			  		  	}
  }
  /* USER CODE END 3 */
}

void SystemClock_Config(void)
{
  RCC_OscInitTypeDef RCC_OscInitStruct = {0};
  RCC_ClkInitTypeDef RCC_ClkInitStruct = {0};

  /** Configure the main internal regulator output voltage
  */
  __HAL_PWR_VOLTAGESCALING_CONFIG(PWR_REGULATOR_VOLTAGE_SCALE0);

  while(!__HAL_PWR_GET_FLAG(PWR_FLAG_VOSRDY)) {}

  /** Initializes the RCC Oscillators according to the specified parameters
  * in the RCC_OscInitTypeDef structure.
  */
  RCC_OscInitStruct.OscillatorType = RCC_OSCILLATORTYPE_CSI;
  RCC_OscInitStruct.CSIState = RCC_CSI_ON;
  RCC_OscInitStruct.CSICalibrationValue = RCC_CSICALIBRATION_DEFAULT;
  RCC_OscInitStruct.PLL.PLLState = RCC_PLL_ON;
  RCC_OscInitStruct.PLL.PLLSource = RCC_PLL1_SOURCE_CSI;
  RCC_OscInitStruct.PLL.PLLM = 1;
  RCC_OscInitStruct.PLL.PLLN = 125;
  RCC_OscInitStruct.PLL.PLLP = 2;
  RCC_OscInitStruct.PLL.PLLQ = 4;
  RCC_OscInitStruct.PLL.PLLR = 2;
  RCC_OscInitStruct.PLL.PLLRGE = RCC_PLL1_VCIRANGE_2;
  RCC_OscInitStruct.PLL.PLLVCOSEL = RCC_PLL1_VCORANGE_WIDE;
  RCC_OscInitStruct.PLL.PLLFRACN = 0;
  if (HAL_RCC_OscConfig(&RCC_OscInitStruct) != HAL_OK)
  {
    Error_Handler();
  }

  /** Initializes the CPU, AHB and APB buses clocks
  */
  RCC_ClkInitStruct.ClockType = RCC_CLOCKTYPE_HCLK|RCC_CLOCKTYPE_SYSCLK
                              |RCC_CLOCKTYPE_PCLK1|RCC_CLOCKTYPE_PCLK2
                              |RCC_CLOCKTYPE_PCLK3;
  RCC_ClkInitStruct.SYSCLKSource = RCC_SYSCLKSOURCE_PLLCLK;
  RCC_ClkInitStruct.AHBCLKDivider = RCC_SYSCLK_DIV1;
  RCC_ClkInitStruct.APB1CLKDivider = RCC_HCLK_DIV1;
  RCC_ClkInitStruct.APB2CLKDivider = RCC_HCLK_DIV1;
  RCC_ClkInitStruct.APB3CLKDivider = RCC_HCLK_DIV1;

  if (HAL_RCC_ClockConfig(&RCC_ClkInitStruct, FLASH_LATENCY_5) != HAL_OK)
  {
    Error_Handler();
  }

  /** Configure the programming delay
  */
  __HAL_FLASH_SET_PROGRAM_DELAY(FLASH_PROGRAMMING_DELAY_2);
}

void Error_Handler(void)
{
  __disable_irq();
  while (1)
  {
  }
}
